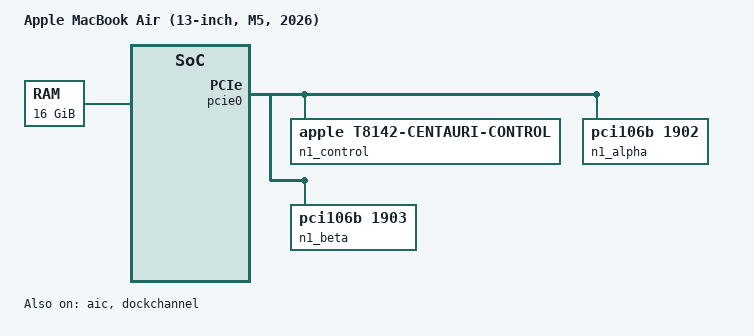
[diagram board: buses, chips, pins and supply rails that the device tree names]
// SPDX-License-Identifier: GPL-2.0+ OR MIT
/*
 * Apple MacBook Air (13-inch, M5, 2026), J813.
 *
 * Initial RAM boot resources measured from the J813 Apple Device Tree.
 * The loader supplies usable memory, CPU release addresses and framebuffer
 * geometry. Peripheral power management is left with the boot firmware.
 */
/dts-v1/;

#include "t8142.dtsi"

/ {
	compatible = "apple,j813", "apple,t8142", "apple,arm-platform";
	model = "Apple MacBook Air (13-inch, M5, 2026)";
	chassis-type = "laptop";

	aliases {
		serial0 = &dockchannel;
		serial1 = &serial0;
	};

	chosen {
		#address-cells = <2>;
		#size-cells = <2>;
		ranges;

		stdout-path = "serial0:1500000n8";

		framebuffer0: framebuffer@0 {
			compatible = "apple,simple-framebuffer", "simple-framebuffer";
			reg = <0 0 0 0>; /* Filled by the loader. */
			status = "disabled";
		};
	};

	memory@10000000000 {
		reg = <0x100 0 0x4 0>; /* Filled by the loader. */
	};
};

&cpu0 {
	operating-points-v2 = <&ecluster_opp>;
	performance-domains = <&cpufreq_e>;
	status = "okay";
};

&cpu1 {
	operating-points-v2 = <&ecluster_opp>;
	performance-domains = <&cpufreq_e>;
	status = "okay";
};

&cpu2 {
	operating-points-v2 = <&ecluster_opp>;
	performance-domains = <&cpufreq_e>;
	status = "okay";
};

&cpu3 {
	operating-points-v2 = <&ecluster_opp>;
	performance-domains = <&cpufreq_e>;
	status = "okay";
};

&cpu4 {
	operating-points-v2 = <&ecluster_opp>;
	performance-domains = <&cpufreq_e>;
	status = "okay";
};

&cpu5 {
	operating-points-v2 = <&ecluster_opp>;
	performance-domains = <&cpufreq_e>;
	status = "okay";
};

&cpu6 {
	operating-points-v2 = <&pcluster_opp>;
	performance-domains = <&cpufreq_p>;
	status = "okay";
};

&cpu7 {
	operating-points-v2 = <&pcluster_opp>;
	performance-domains = <&cpufreq_p>;
	status = "okay";
};

&cpu8 {
	operating-points-v2 = <&pcluster_opp>;
	performance-domains = <&cpufreq_p>;
	status = "okay";
};

&cpu9 {
	operating-points-v2 = <&pcluster_opp>;
	performance-domains = <&cpufreq_p>;
	status = "okay";
};

&{/timer} {
	status = "okay";
};

&aic {
	status = "okay";
};

&dockchannel {
	status = "okay";
};

#include "t8142-j813-display.dtsi"
#include "t8142-j813-gpu.dtsi"
#include "t8142-j813-peripherals.dtsi"
#include "t8142-j813-j815.dtsi"
#include "t8142-j813-usb.dtsi"
#include "t8142-j813-avd.dtsi"
#include "t8142-j813-isp.dtsi"
#include "t8142-j813-n1.dtsi"
#include "t8142-j813-audio.dtsi"

/*
 * Ambient light sensor, the AOP's "als" service: an ST VD6286, as on J815
 * (same ADT node, /arm-io/aop/iop-aop-nub/als). aop_als sends it the
 * per-device calibration (apple/aop-als-cal.bin). No firmware-name: that
 * names the CT817 setup-port message, which this sensor does not take.
 */
&aop {
	aop_als: als {
		compatible = "apple,t8142-aop-als", "apple,aop-als";
	};
};

/*
 * N1 functions behind apcie port 0 (0000:00:00.0 -> 01:00.{0,1,2}), so the
 * loader has somewhere to put the factory addresses: it copies ADT /chosen
 * mac-address-wifi0 and mac-address-bluetooth0 into the wifi0/bluetooth0
 * alias targets. Same nodes as t8142-j815.dts (same N1, same PCI IDs).
 */
/ {
	aliases {
		wifi0 = &n1_alpha;
		bluetooth0 = &n1_beta;
	};
};

&pcie0 {
	n1_port: pci@0,0 {
		device_type = "pci";
		reg = <0x0 0x0 0x0 0x0 0x0>;
		bus-range = <1 1>;
		#address-cells = <3>;
		#size-cells = <2>;
		ranges;

		n1_control: control@0,0 {
			compatible = "apple,t8142-centauri-control", "pci106b,1900";
			reg = <0x10000 0x0 0x0 0x0 0x0>;
		};

		n1_alpha: wifi@0,1 {
			compatible = "pci106b,1902";
			reg = <0x10100 0x0 0x0 0x0 0x0>;
			/* Filled by the loader */
			local-mac-address = [00 00 00 00 00 00];
		};

		n1_beta: bluetooth@0,2 {
			compatible = "pci106b,1903";
			reg = <0x10200 0x0 0x0 0x0 0x0>;
			/* Filled by the loader */
			local-bd-address = [00 00 00 00 00 00];
		};
	};
};

&mtp_hid {
	multi-touch {
		firmware-name = "apple/tpmtfw-j813.bin";
	};
};

/* Unexposed chassis port instances remain described and disabled. */
